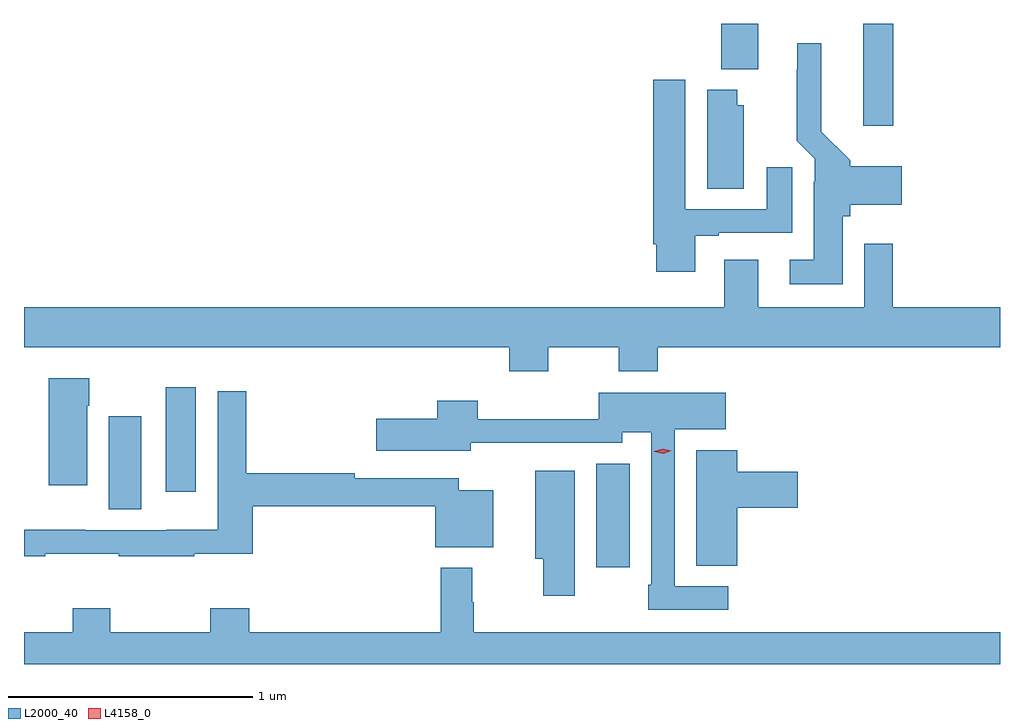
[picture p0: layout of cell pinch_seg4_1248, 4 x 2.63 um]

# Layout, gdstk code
import gdstk
lib = gdstk.Library(unit=1e-6, precision=1e-09)
def R(c, l, rs):  # rectangles x0, y0, x1, y1
    for r in rs: c.add(gdstk.rectangle(r[:2], r[2:], *l))
def P(c, l, *ps):  # polygons
    for p in ps: c.add(gdstk.Polygon(p, *l))
L2000_40 = (2000, 40)
L4158_0 = (4158, 0)

pinch_seg4_1248 = lib.new_cell('pinch_seg4_1248')
R(pinch_seg4_1248, L2000_40, [(246.158,749.298,246.295,749.723), (244.16,749.536,244.294,749.917), (244.394,749.607,244.516,750.037), (247.253,751.107,247.376,751.527), (246.671,751.34,246.823,751.527)])
P(pinch_seg4_1248, L2000_40, [(247.168,750.738),(247.199,750.738),(247.199,750.785),(247.411,750.785),(247.411,750.943),(247.199,750.943),(247.199,750.966),(247.081,751.084),(247.081,751.447),(246.983,751.447),(246.983,751.337),(246.979,751.337),(246.979,751.046),(247.053,750.972),(247.053,750.878),(247.049,750.878),(247.049,750.559),(246.951,750.559),(246.951,750.458),(247.168,750.458)],
  [(246.565,750.657),(246.661,750.657),(246.661,750.669),(246.961,750.669),(246.961,750.937),(246.857,750.937),(246.857,750.765),(246.523,750.765),(246.523,751.297),(246.392,751.297),(246.392,750.622),(246.404,750.622),(246.404,750.51),(246.565,750.51)],
  [(246.763,751.191),(246.736,751.191),(246.736,751.255),(246.614,751.255),(246.614,750.85),(246.763,750.85)],
  [(245.961,750.2),(246.25,750.2),(246.25,750.101),(246.41,750.101),(246.41,750.2),(247.813,750.2),(247.813,750.364),(247.373,750.364),(247.373,750.625),(247.257,750.625),(247.257,750.364),(246.823,750.364),(246.823,750.559),(246.683,750.559),(246.683,750.364),(243.813,750.364),(243.813,750.2),(245.801,750.2),(245.801,750.101),(245.961,750.101)],
  [(244.072,749.96),(244.08,749.96),(244.08,750.073),(243.914,750.073),(243.914,749.634),(244.072,749.634)],
  [(243.901,749.353),(244.201,749.353),(244.201,749.343),(244.511,749.343),(244.511,749.353),(244.751,749.353),(244.751,749.548),(245.499,749.548),(245.499,749.381),(245.737,749.381),(245.737,749.614),(245.595,749.614),(245.595,749.664),(245.168,749.664),(245.168,749.684),(244.724,749.684),(244.724,750.019),(244.608,750.019),(244.608,749.452),(244.398,749.452),(244.398,749.451),(244.064,749.451),(244.064,749.453),(243.813,749.453),(243.813,749.343),(243.901,749.343)],
  [(246.7,749.22),(246.48,749.22),(246.48,749.864),(246.688,749.864),(246.688,750.013),(246.168,750.013),(246.168,749.906),(245.672,749.906),(245.672,749.98),(245.507,749.98),(245.507,749.907),(245.256,749.907),(245.256,749.777),(245.644,749.777),(245.644,749.808),(246.264,749.808),(246.264,749.852),(246.384,749.852),(246.384,749.227),(246.372,749.227),(246.372,749.124),(246.7,749.124)],
  [(246.736,749.543),(246.985,749.543),(246.985,749.69),(246.736,749.69),(246.736,749.779),(246.569,749.779),(246.569,749.305),(246.736,749.305)],
  [(246.07,749.695),(245.909,749.695),(245.909,749.333),(245.941,749.333),(245.941,749.181),(246.07,749.181)],
  [(245.521,749.296),(245.521,749.032),(244.736,749.032),(244.736,749.131),(244.576,749.131),(244.576,749.032),(244.167,749.032),(244.167,749.131),(244.012,749.131),(244.012,749.032),(243.813,749.032),(243.813,748.9),(247.813,748.9),(247.813,749.032),(245.657,749.032),(245.657,749.156),(245.65,749.156),(245.65,749.296)])
P(pinch_seg4_1248, L4158_0, [(246.432,749.764),(246.397,749.772),(246.397,749.773),(246.397,749.773),(246.431,749.784),(246.466,749.775),(246.466,749.775),(246.466,749.775)])

lib.write_gds('pinch_seg4_1248.gds')
